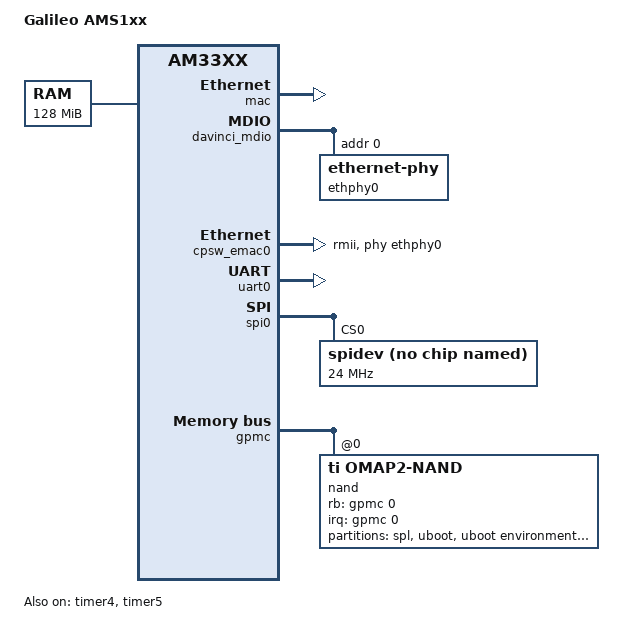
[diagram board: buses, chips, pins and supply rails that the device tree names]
// SPDX-License-Identifier: GPL-2.0-only
/*
 * am335x-galileo-33xx.dts - Device Tree file for Leuze Board
 *
 * Copyright (C) 2021 Leuze Electronic. - http://www.leuze.com/
 */

/dts-v1/;

#include "am33xx.dtsi"
#include "am335x-galileo.dtsi"
#include <dt-bindings/interrupt-controller/irq.h>

/ {
	model = "Galileo AMS1xx";
	compatible = "ams1xx,galileo-33xx", "ti,am33xx";

	memory@80000000 {
		device_type = "memory";
		reg = <0x80000000 0x8000000>;	/* 128 MB */
	};

        chosen {
        stdout-path = &uart0;
    };

};

&mac {
	pinctrl-names = "default";
	pinctrl-0 = <&ethernet_service_pins_default>;
	slaves = <1>;
	status = "okay";
};

&davinci_mdio {
	pinctrl-names = "default";
	pinctrl-0 = <&phy_management_pins_default>;
	status = "okay";

	ethphy0: ethernet-phy@0 {
		reg = <0>;
	};
};

&cpsw_emac0 {
	phy-handle = <&ethphy0>;
	phy-mode = "rmii";
};

&uart0 {
	pinctrl-names = "default";
	pinctrl-0 = <&rs232_ttl_pins_default>;

	status = "okay";
};
&spi0 {
    status = "okay";
    id = <0>;
    pinctrl-names = "default";
    pinctrl-0 = <&spi0_dsp_pins_default>;

    spidev@0 {
        spi-max-frequency = <24000000>;
        reg = <0>;
        compatible = "linux,spidev";
    };
};

&timer4 {
	compatible = "ti,am335x-timer";
	pinctrl-names = "default";
	status = "okay";
	clock-names = "fck";
	ti,timer-alwon;
	clocks = <&timer4_fck>;
};

&timer5 {
	compatible = "ti,am335x-ssi-timer";
	pinctrl-names = "default";
	status = "okay";
	clock-names = "fck";
	ti,timer-alwon;
	clocks = <&timer5_fck>;
};

&am33xx_pinmux {
	status = "okay";
	pinctrl-names = "default" ;
	pinctrl-0 = <&gpio_0_pins_default>;
};
/*&am33xx_pinmux {
	status = "okay";
	pinctrl-names = "default";
	pinctrl-0 = <&gpio_3_pins_default>;
};

&am33xx_pinmux {
	status = "okay";
	pinctrl-names = "default";
	pinctrl-0 = <&gpio_2_pins_default>;
};*/


&gpmc {
	status = "okay";
	pinctrl-names = "default";
	pinctrl-0 = <&gpm_flash_pins_default>;
	ranges = <0 0 0x08000000 0x10000000>;	/* CS0: NAND */
	nand@0,0 {
		compatible = "ti,omap2-nand";
		reg = <0 0 4>; /* CS0, offset 0, IO size 4 */
		interrupt-parent = <&gpmc>;
		interrupts = <0 IRQ_TYPE_NONE>, /* fifoevent */
			     <1 IRQ_TYPE_NONE>;	/* termcount */
		rb-gpios = <&gpmc 0 GPIO_ACTIVE_HIGH>; /* gpmc_wait0 */
		/* ti,elm-id = <&elm>; */
		ti,nand-ecc-opt = "sw";
		nand-bus-width = <8>;
		gpmc,device-width = <1>;
		gpmc,sync-clk-ps = <0>;
		gpmc,cs-on-ns = <0>;
		gpmc,cs-rd-off-ns = <44>;
		gpmc,cs-wr-off-ns = <44>;
		gpmc,adv-on-ns = <6>;
		gpmc,adv-rd-off-ns = <34>;
		gpmc,adv-wr-off-ns = <44>;
		gpmc,we-on-ns = <0>;
		gpmc,we-off-ns = <40>;
		gpmc,oe-on-ns = <0>;
		gpmc,oe-off-ns = <54>;
		gpmc,access-ns = <64>;
		gpmc,rd-cycle-ns = <82>;
		gpmc,wr-cycle-ns = <82>;
		gpmc,bus-turnaround-ns = <0>;
		gpmc,cycle2cycle-delay-ns = <0>;
		gpmc,clk-activation-ns = <0>;
		gpmc,wr-access-ns = <40>;
		gpmc,wr-data-mux-bus-ns = <0>;
		/* MTD partition table */
		#address-cells = <1>;
		#size-cells = <1>;
		partition@0 {
			label = "spl";
			reg = <0x00000000 0x00200000>;
		};
		partition@1 {
			label = "uboot";
			reg = <0x00200000 0x00100000>;
		};
		partition@2 {
			label = "uboot environment";
			reg = <0x00300000 0x00100000>;
		};
		partition@3 {
			label = "dtb";
			reg = <0x00400000 0x00100000>;
		};

		partition@4 {
			label = "linux";
			reg = <0x00900000 0x00600000>;
		};
		partition@5 {
			label = "rootfs";
			reg = <0x00F00000 0>;
		};
	};
};

